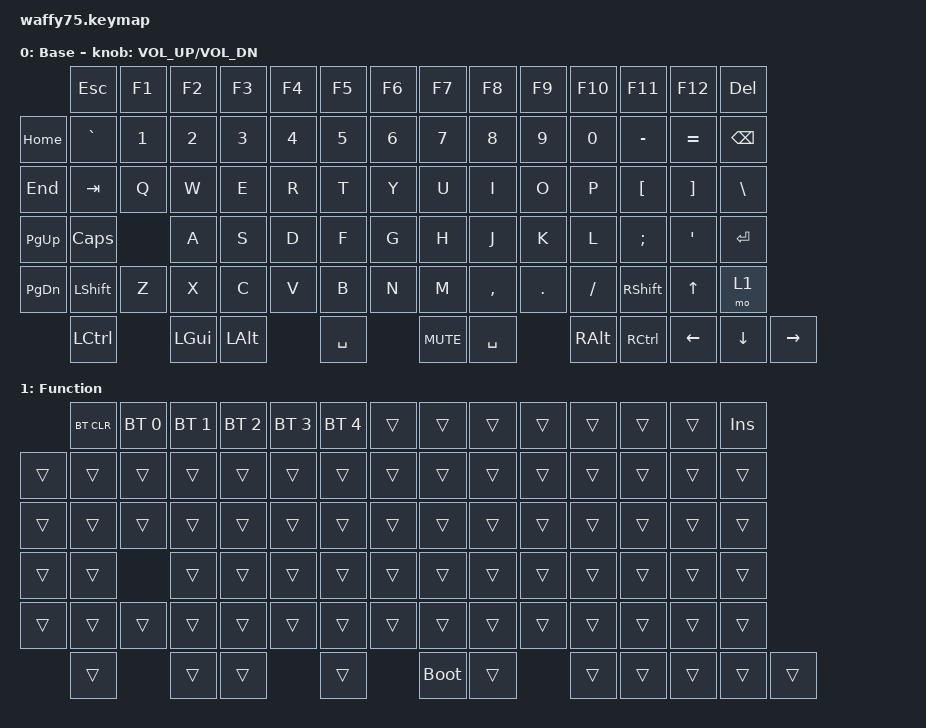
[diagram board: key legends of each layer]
// This file was generated from a template. Edit it to match your keyboard.
// See https://zmk.dev/docs/development/hardware-integration/new-shield for more instructions.

#include <behaviors.dtsi>
#include <dt-bindings/zmk/keys.h>
#include <dt-bindings/zmk/bt.h>

/ {
    // Define a default keymap here.
    // See https://zmk.dev/docs/development/hardware-integration/new-shield#default-keymap.
    keymap {
        compatible = "zmk,keymap";

        default_layer { // Layer 0
            display-name = "Base";
            bindings = <
                          &kp ESC   &kp F1   &kp F2     &kp F3    &kp F4   &kp F5   &kp F6       &kp F7     &kp F8   &kp F9    &kp F10   &kp F11   &kp F12             &kp DEL 
                &kp HOME  &kp GRAVE &kp N1   &kp N2     &kp N3    &kp N4   &kp N5   &kp N6       &kp N7     &kp N8   &kp N9    &kp N0    &kp MINUS &kp EQUAL           &kp BSPC
                &kp END   &kp TAB            &kp Q      &kp W     &kp E    &kp R    &kp T        &kp Y      &kp U    &kp I     &kp O     &kp P     &kp LBKT  &kp RBKT  &kp BSLH
                &kp PG_UP &kp CAPS           &kp A      &kp S     &kp D    &kp F    &kp G        &kp H      &kp J    &kp K     &kp L     &kp SEMI  &kp SQT             &kp ENTER
                &kp PG_DN &kp LSHFT          &kp Z      &kp X     &kp C    &kp V    &kp B        &kp N      &kp M    &kp COMMA &kp DOT   &kp FSLH  &kp RSHFT &kp UP    &mo 1
                          &kp LCTRL          &kp LGUI   &kp LALT           &kp SPACE             &kp C_MUTE &kp SPACE          &kp RALT  &kp RCTRL &kp LEFT  &kp DOWN  &kp RIGHT
            >;
            sensor-bindings = <&inc_dec_kp C_VOL_UP C_VOL_DN>;
        };
        fn_layer { // Layer 1
            display-name = "Function";
            bindings = <
                        &bt BT_CLR &bt BT_SEL 0 &bt BT_SEL 1 &bt BT_SEL 2 &bt BT_SEL 3 &bt BT_SEL 4 &trans         &trans      &trans   &trans    &trans   &trans   &trans          &kp INS 
                &trans  &trans     &trans       &trans       &trans       &trans       &trans       &trans         &trans      &trans   &trans    &trans   &trans   &trans          &trans
                &trans  &trans                  &trans       &trans       &trans       &trans       &trans         &trans      &trans   &trans    &trans   &trans   &trans  &trans  &trans
                &trans  &trans                  &trans       &trans       &trans       &trans       &trans         &trans      &trans   &trans    &trans   &trans   &trans          &trans
                &trans  &trans                  &trans       &trans       &trans       &trans       &trans         &trans      &trans   &trans    &trans   &trans   &trans  &trans  &trans
                        &trans                  &trans       &trans                    &trans                      &bootloader &trans             &trans   &trans   &trans  &trans  &trans
            >;
        };
    };
};
